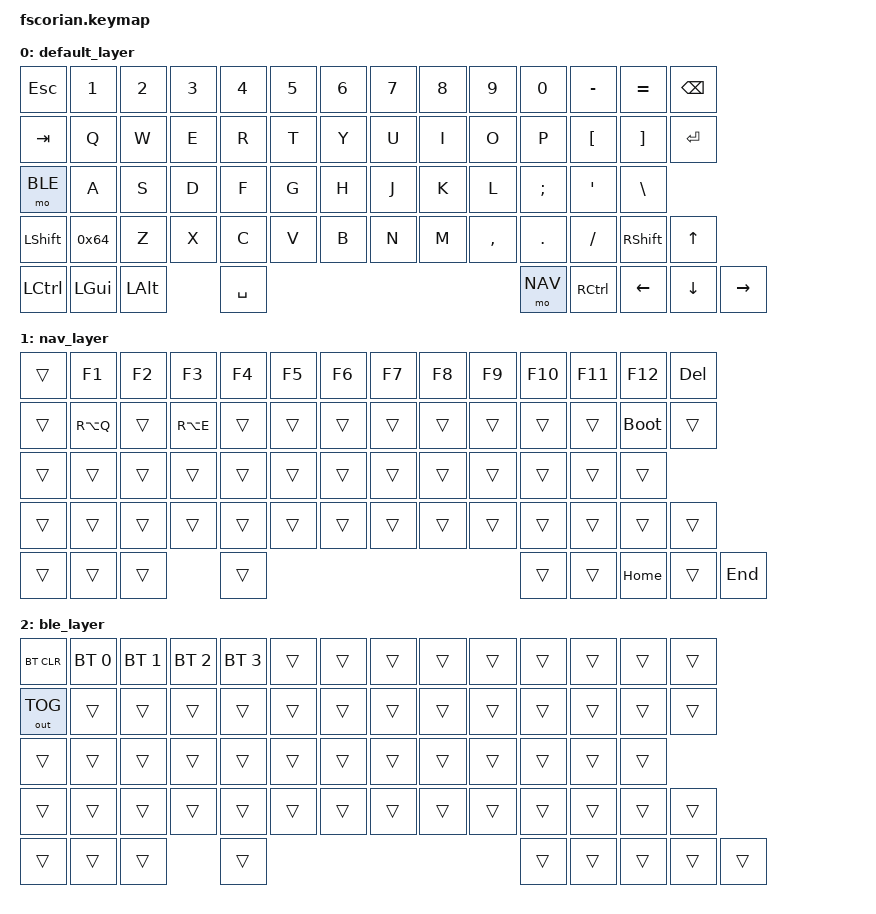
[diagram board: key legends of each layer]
#include <behaviors.dtsi>
#include <dt-bindings/zmk/keys.h>
#include <dt-bindings/zmk/bt.h>
#include <dt-bindings/zmk/outputs.h>


#define DEFAULT 0
#define NAV 1
#define BLE 2

/ {
    keymap {
        compatible = "zmk,keymap";

        default_layer {
            // ESC | 1 | 2 | 3 | 4 | 5 | 6 | 7 | 8 | 9 | 0 | ß | ´ | BACKSPACE |
            // TAB | q | w | e | r | t | z | u | i | o | p | ü | + | RETURN | 
            // CAPSLOCK | a | s | d | f | g | h | j | k | l | ö | ä | # | 
            // LSHIFT  | < | y | x | c | v | b | n | m | , | . | - | RSHIFT | UP
            // LCTRL | LGUI | LALT | SPACE | RGUI | RCTRL | LEFT | DOWN | RIGHT


            bindings = <
                &kp ESC     &kp N1   &kp N2   &kp N3   &kp N4   &kp N5   &kp N6   &kp N7   &kp N8   &kp N9   &kp N0   &kp MINUS   &kp EQUAL &kp BSPC        
                &kp TAB     &kp Q       &kp W       &kp E       &kp R       &kp T       &kp Y       &kp U       &kp I       &kp O       &kp P       &kp LBKT    &kp RBKT    &kp RET     
                &mo BLE      &kp A       &kp S       &kp D       &kp F       &kp G       &kp H       &kp J       &kp K       &kp L       &kp SEMI    &kp SQT    &kp BSLH                
                &kp LSHFT    &kp 0x64    &kp Z       &kp X       &kp C       &kp V       &kp B       &kp N       &kp M       &kp COMMA    &kp DOT     &kp FSLH    &kp RSHFT    &kp UP        
                &kp LCTRL    &kp LGUI    &kp LALT                            &kp SPACE                                                     &mo NAV   &kp RCTRL    &kp LEFT    &kp DOWN    &kp RIGHT
            >;
        };

        nav_layer {
            bindings=<
                &trans       &kp F1         &kp F2      &kp F3      &kp F4  &kp F5  &kp F6  &kp F7  &kp F8  &kp F9  &kp F10  &kp F11  &kp F12  &kp DEL     
                &trans       &kp RA(Q)           &trans           &kp RA(E)          &trans           &trans       &trans       &trans       &trans       &trans       &trans       &trans       &bootloader       &trans       
                &trans      &trans           &trans           &trans           &trans           &trans       &trans       &trans       &trans       &trans       &trans       &trans       &trans               
                &trans       &trans           &trans           &trans           &trans           &trans       &trans       &trans       &trans       &trans       &trans       &trans       &trans       &trans       
                &trans       &trans           &trans                           &trans                                                                       &trans       &trans       &kp HOME    &trans   &kp END

            >;
        };

        ble_layer {
            bindings=<
                &bt BT_CLR   &bt  BT_SEL 0    &bt  BT_SEL 1    &bt  BT_SEL 2   &bt  BT_SEL 3    &trans       &trans       &trans       &trans       &trans       &trans       &trans       &trans       &trans     
                &out OUT_TOG       &trans           &trans           &trans          &trans           &trans       &trans       &trans       &trans       &trans       &trans       &trans       &trans       &trans       
                &trans       &trans           &trans           &trans          &trans           &trans       &trans       &trans       &trans       &trans       &trans       &trans       &trans               
                &trans       &trans           &trans           &trans          &trans           &trans       &trans       &trans       &trans       &trans       &trans       &trans       &trans       &trans       
                &trans       &trans           &trans                           &trans                                                                       &trans       &trans       &trans    &trans   &trans

            >;
        };
    };
};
